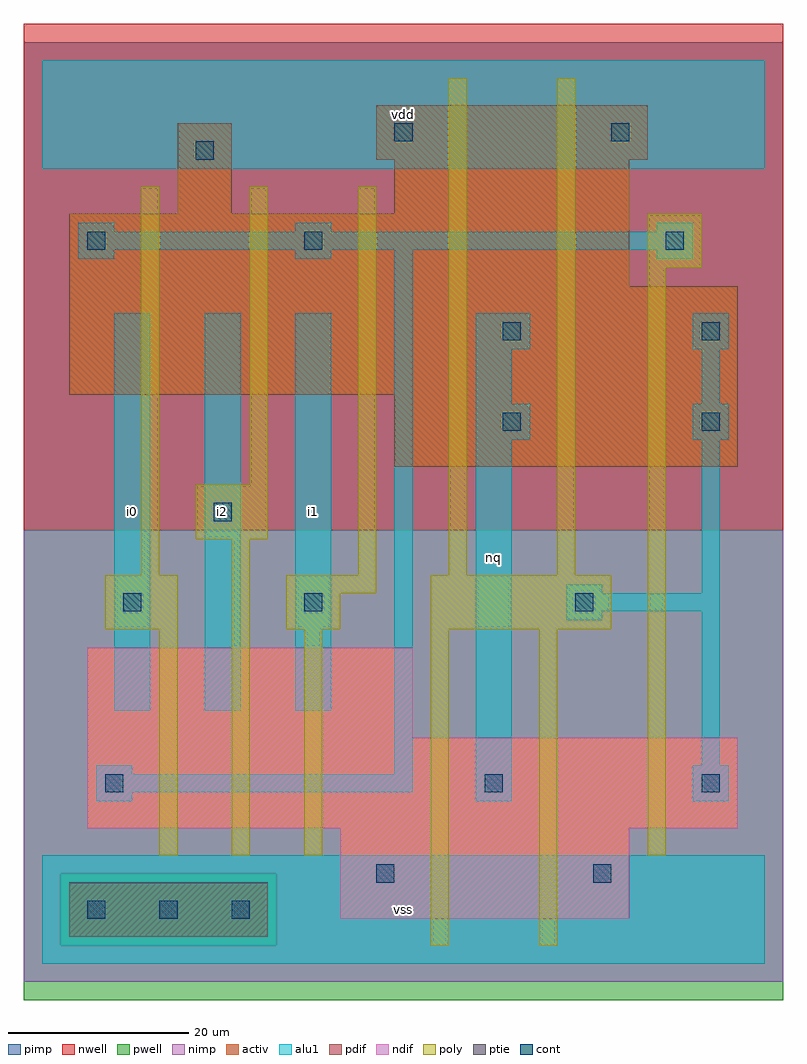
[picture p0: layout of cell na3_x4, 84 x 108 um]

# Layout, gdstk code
import gdstk
lib = gdstk.Library(unit=1e-6, precision=1e-09)
def R(c, l, rs):  # rectangles x0, y0, x1, y1
    for r in rs: c.add(gdstk.rectangle(r[:2], r[2:], *l))
def A(c, l, x, y, w, h, nx, ny, dx, dy):  # array of equal rectangles
    R(c, l, [(x+i*dx, y+j*dy, x+i*dx+w, y+j*dy+h) for i in range(nx) for j in range(ny)])
ndif = (3, 0)
pdif = (4, 0)
ptie = (6, 0)
cont = (25, 0)
pwell = (41, 0)
nwell = (42, 0)
activ = (43, 0)
pimp = (44, 0)
nimp = (45, 0)
poly = (46, 0)
alu1 = (49, 0)

na3_x4 = lib.new_cell('na3_x4')
R(na3_x4, ndif, [(33,5,65,15), (5,15,77,25), (5,25,41,35)])
R(na3_x4, pdif, [(39,55,77,63), (3,63,77,75), (3,75,65,83), (15,83,21,93), (39,83,65,89), (37,89,67,95)])
R(na3_x4, ptie, [(3,3,25,9)])
A(na3_x4, cont, 5, 5, 2, 2, 3, 1, 8, 0)
R(na3_x4, cont, [(37,9,39,11), (61,9,63,11), (7,19,9,21), (49,19,51,21), (73,19,75,21), (9,39,11,41), (29,39,31,41), (59,39,61,41), (19,49,21,51), (51,59,53,61), (73,59,75,61), (51,69,53,71), (73,69,75,71), (5,79,7,81), (29,79,31,81), (69,79,71,81), (17,89,19,91), (39,91,41,93), (63,91,65,93)])
R(na3_x4, pwell, [(-2,-4,82,48)])
R(na3_x4, nwell, [(-2,48,82,104)])
R(na3_x4, activ, [(3,3,25,9), (33,5,65,15), (5,15,77,25), (5,25,41,35), (39,55,77,63), (3,63,77,75), (3,75,65,83), (15,83,21,93), (39,83,65,89), (37,89,67,95)])
R(na3_x4, pimp, [(2,2,26,10), (-2,48,82,102)])
R(na3_x4, nimp, [(-2,-2,82,2), (-2,2,2,10), (26,2,82,10), (-2,10,82,48)])
R(na3_x4, poly, [(43,2,45,37), (55,2,57,37), (13,12,15,37), (21,12,23,47), (29,12,31,37), (67,12,69,77), (7,37,15,43), (27,37,33,41), (43,37,63,43), (27,41,37,43), (11,43,13,86), (35,43,37,86), (45,43,47,98), (57,43,59,98), (17,47,25,53), (23,53,25,86), (67,77,73,83)])
A(na3_x4, alu1, 8, 28, 4, 44, 3, 1, 10, 0)
R(na3_x4, alu1, [(0,0,80,12), (6,18,10,19), (48,18,52,58), (72,18,76,22), (6,19,41,21), (6,21,10,22), (39,21,41,79), (73,22,75,39), (58,38,62,39), (58,39,75,41), (58,41,62,42), (73,41,75,58), (48,58,54,62), (72,58,76,62), (48,62,52,68), (73,62,75,68), (48,68,54,72), (72,68,76,72), (4,78,8,79), (28,78,32,79), (68,78,72,79), (4,79,72,81), (4,81,8,82), (28,81,32,82), (68,81,72,82), (0,88,80,100)])
na3_x4.add(gdstk.Label('i0', (10,50), layer=49, texttype=0))
na3_x4.add(gdstk.Label('i1', (30,50), layer=49, texttype=0))
na3_x4.add(gdstk.Label('i2', (20,50), layer=49, texttype=0))
na3_x4.add(gdstk.Label('vss', (40,6), layer=49, texttype=0))
na3_x4.add(gdstk.Label('nq', (50,45), layer=49, texttype=0))
na3_x4.add(gdstk.Label('vdd', (40,94), layer=49, texttype=0))

lib.write_gds('na3_x4.gds')
